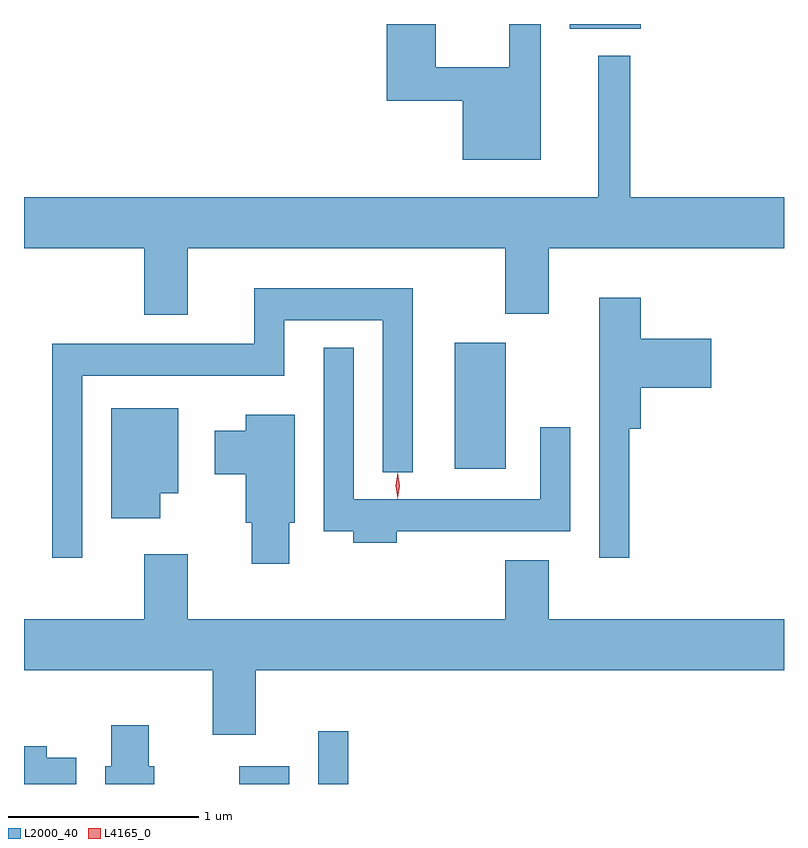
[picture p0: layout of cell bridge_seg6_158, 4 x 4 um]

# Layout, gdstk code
import gdstk
lib = gdstk.Library(unit=1e-6, precision=1e-09)
def R(c, l, rs):  # rectangles x0, y0, x1, y1
    for r in rs: c.add(gdstk.rectangle(r[:2], r[2:], *l))
def P(c, l, *ps):  # polygons
    for p in ps: c.add(gdstk.Polygon(p, *l))
L2000_40 = (2000, 40)
L4165_0 = (4165, 0)

bridge_seg6_158 = lib.new_cell('bridge_seg6_158')
R(bridge_seg6_158, L2000_40, [(1081.401,1582.736,1081.664,1582.829), (1081.816,1582.736,1081.974,1583.013), (1082.536,1584.396,1082.804,1585.059), (1083.141,1586.711,1083.514,1586.736)])
P(bridge_seg6_158, L2000_40, [(1082.989,1586.736),(1082.821,1586.736),(1082.821,1586.509),(1082.434,1586.509),(1082.434,1586.736),(1082.176,1586.736),(1082.176,1586.331),(1082.576,1586.331),(1082.576,1586.021),(1082.989,1586.021)],
  [(1081.129,1585.556),(1082.801,1585.556),(1082.801,1585.211),(1083.029,1585.211),(1083.029,1585.556),(1084.268,1585.556),(1084.268,1585.824),(1083.459,1585.824),(1083.459,1586.568),(1083.291,1586.568),(1083.291,1585.824),(1080.268,1585.824),(1080.268,1585.556),(1080.901,1585.556),(1080.901,1585.206),(1081.129,1585.206)],
  [(1080.574,1584.886),(1081.639,1584.886),(1081.639,1585.176),(1082.156,1585.176),(1082.156,1584.378),(1082.314,1584.378),(1082.314,1585.344),(1081.481,1585.344),(1081.481,1585.054),(1080.416,1585.054),(1080.416,1583.928),(1080.574,1583.928)],
  [(1083.454,1584.606),(1083.514,1584.606),(1083.514,1584.821),(1083.884,1584.821),(1083.884,1585.079),(1083.514,1585.079),(1083.514,1585.294),(1083.296,1585.294),(1083.296,1583.928),(1083.454,1583.928)],
  [(1082.229,1584.066),(1083.144,1584.066),(1083.144,1584.613),(1082.986,1584.613),(1082.986,1584.234),(1082.004,1584.234),(1082.004,1585.033),(1081.846,1585.033),(1081.846,1584.066),(1082.001,1584.066),(1082.001,1584.006),(1082.229,1584.006)],
  [(1080.984,1584.266),(1081.079,1584.266),(1081.079,1584.714),(1080.726,1584.714),(1080.726,1584.136),(1080.984,1584.136)],
  [(1081.664,1584.111),(1081.694,1584.111),(1081.694,1584.679),(1081.436,1584.679),(1081.436,1584.594),(1081.271,1584.594),(1081.271,1584.366),(1081.436,1584.366),(1081.436,1584.111),(1081.466,1584.111),(1081.466,1583.896),(1081.664,1583.896)],
  [(1081.489,1583.336),(1084.268,1583.336),(1084.268,1583.604),(1083.029,1583.604),(1083.029,1583.914),(1082.801,1583.914),(1082.801,1583.604),(1081.129,1583.604),(1081.129,1583.944),(1080.901,1583.944),(1080.901,1583.604),(1080.268,1583.604),(1080.268,1583.336),(1081.261,1583.336),(1081.261,1582.996),(1081.489,1582.996)],
  [(1080.954,1582.829),(1080.924,1582.829),(1080.924,1583.044),(1080.726,1583.044),(1080.726,1582.829),(1080.696,1582.829),(1080.696,1582.736),(1080.954,1582.736)],
  [(1080.544,1582.874),(1080.389,1582.874),(1080.389,1582.934),(1080.268,1582.934),(1080.268,1582.736),(1080.544,1582.736)])
P(bridge_seg6_158, L4165_0, [(1082.234,1584.237),(1082.234,1584.237),(1082.224,1584.307),(1082.234,1584.376),(1082.234,1584.376),(1082.235,1584.376),(1082.244,1584.307),(1082.235,1584.237)],
  [(1082.236,1584.239),(1082.235,1584.24),(1082.226,1584.306),(1082.235,1584.372),(1082.236,1584.373),(1082.236,1584.372),(1082.246,1584.306),(1082.236,1584.24)])

lib.write_gds('bridge_seg6_158.gds')
